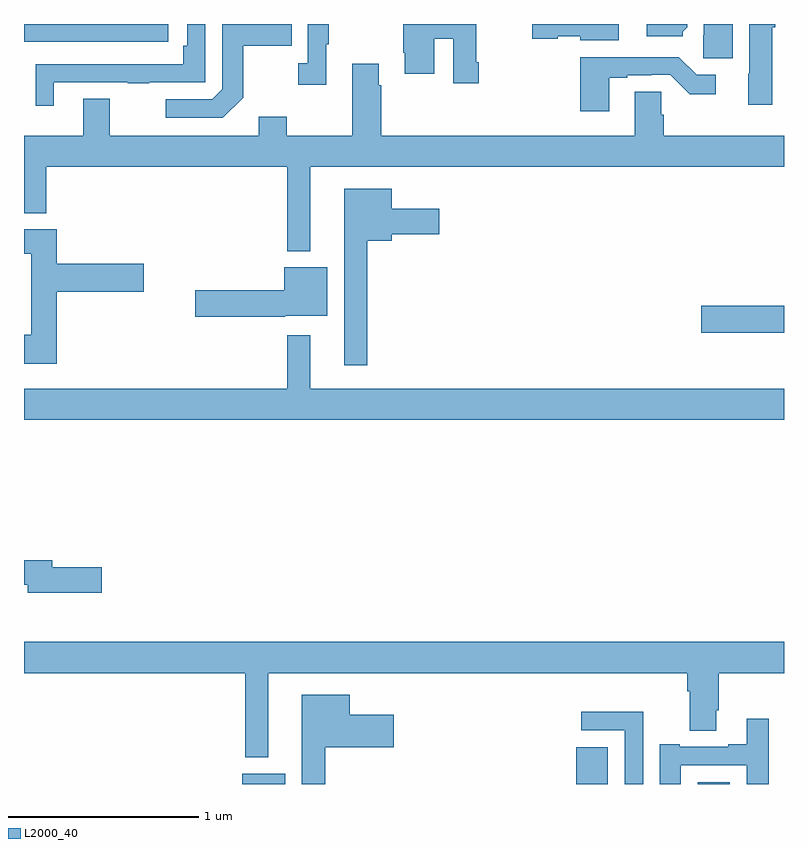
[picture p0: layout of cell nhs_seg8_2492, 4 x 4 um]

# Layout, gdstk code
import gdstk
lib = gdstk.Library(unit=1e-6, precision=1e-09)
def R(c, l, rs):  # rectangles x0, y0, x1, y1
    for r in rs: c.add(gdstk.rectangle(r[:2], r[2:], *l))
def P(c, l, *ps):  # polygons
    for p in ps: c.add(gdstk.Polygon(p, *l))
L2000_40 = (2000, 40)

nhs_seg8_2492 = lib.new_cell('nhs_seg8_2492')
R(nhs_seg8_2492, L2000_40, [(268.148,1131.9,268.375,1131.955), (269.906,1131.9,270.073,1132.093), (270.545,1131.9,270.715,1131.91), (270.564,1134.274,271,1134.416), (267,1135.806,267.76,1135.9)])
P(nhs_seg8_2492, L2000_40, [(270.468,1135.86),(270.49,1135.882),(270.49,1135.9),(270.278,1135.9),(270.278,1135.835),(270.468,1135.835)],
  [(268.591,1135.793),(268.603,1135.793),(268.603,1135.9),(268.494,1135.9),(268.494,1135.694),(268.443,1135.694),(268.443,1135.581),(268.591,1135.581)],
  [(270.937,1135.884),(270.955,1135.884),(270.955,1135.9),(270.818,1135.9),(270.818,1135.638),(270.812,1135.638),(270.812,1135.476),(270.937,1135.476)],
  [(268.153,1135.513),(268.153,1135.786),(268.409,1135.786),(268.409,1135.9),(268.044,1135.9),(268.044,1135.557),(267.99,1135.503),(267.747,1135.503),(267.747,1135.407),(268.047,1135.407)],
  [(269.393,1135.699),(269.38,1135.699),(269.38,1135.9),(268.996,1135.9),(268.996,1135.75),(269.003,1135.75),(269.003,1135.638),(269.158,1135.638),(269.158,1135.823),(269.258,1135.823),(269.258,1135.587),(269.393,1135.587)],
  [(270.73,1135.9),(270.578,1135.9),(270.578,1135.842),(270.574,1135.842),(270.574,1135.719),(270.73,1135.719)],
  [(270.13,1135.9),(269.676,1135.9),(269.676,1135.823),(269.808,1135.823),(269.808,1135.835),(269.928,1135.835),(269.928,1135.814),(270.13,1135.814)],
  [(267.157,1135.593),(267.547,1135.593),(267.547,1135.588),(267.659,1135.588),(267.659,1135.593),(267.954,1135.593),(267.954,1135.9),(267.858,1135.9),(267.858,1135.786),(267.838,1135.786),(267.838,1135.689),(267.163,1135.689),(267.163,1135.688),(267.061,1135.688),(267.061,1135.47),(267.157,1135.47)],
  [(270.079,1135.617),(270.175,1135.617),(270.175,1135.629),(270.302,1135.629),(270.302,1135.632),(270.402,1135.632),(270.505,1135.53),(270.64,1135.53),(270.64,1135.632),(270.54,1135.632),(270.446,1135.726),(269.927,1135.726),(269.927,1135.44),(270.079,1135.44)],
  [(268.507,1135.148),(271,1135.148),(271,1135.312),(270.368,1135.312),(270.368,1135.422),(270.354,1135.422),(270.354,1135.544),(270.215,1135.544),(270.215,1135.312),(268.88,1135.312),(268.88,1135.577),(268.867,1135.577),(268.867,1135.69),(268.727,1135.69),(268.727,1135.312),(268.383,1135.312),(268.383,1135.411),(268.235,1135.411),(268.235,1135.312),(267.451,1135.312),(267.451,1135.507),(267.311,1135.507),(267.311,1135.312),(267,1135.312),(267,1134.905),(267.116,1134.905),(267.116,1135.148),(268.386,1135.148),(268.386,1134.704),(268.507,1134.704)],
  [(268.807,1134.758),(268.936,1134.758),(268.936,1134.794),(269.185,1134.794),(269.185,1134.928),(268.936,1134.928),(268.936,1135.033),(268.685,1135.033),(268.685,1134.105),(268.807,1134.105)],
  [(267.173,1134.491),(267.631,1134.491),(267.631,1134.638),(267.173,1134.638),(267.173,1134.82),(267,1134.82),(267,1134.692),(267.038,1134.692),(267.038,1134.265),(267,1134.265),(267,1134.113),(267.173,1134.113)],
  [(268.374,1134.365),(268.597,1134.365),(268.597,1134.619),(268.37,1134.619),(268.37,1134.5),(267.9,1134.5),(267.9,1134.358),(268.374,1134.358)],
  [(271,1133.98),(268.507,1133.98),(268.507,1134.262),(268.386,1134.262),(268.386,1133.98),(267,1133.98),(267,1133.816),(271,1133.816)],
  [(267.409,1133.042),(267.148,1133.042),(267.148,1133.078),(267,1133.078),(267,1132.95),(267.02,1132.95),(267.02,1132.907),(267.409,1132.907)],
  [(268.285,1132.484),(270.491,1132.484),(270.491,1132.388),(270.503,1132.388),(270.503,1132.18),(270.643,1132.18),(270.643,1132.288),(270.656,1132.288),(270.656,1132.484),(271,1132.484),(271,1132.648),(267,1132.648),(267,1132.484),(268.164,1132.484),(268.164,1132.04),(268.285,1132.04)],
  [(268.585,1132.094),(268.945,1132.094),(268.945,1132.264),(268.714,1132.264),(268.714,1132.369),(268.463,1132.369),(268.463,1131.9),(268.585,1131.9)],
  [(270.258,1132.28),(269.934,1132.28),(269.934,1132.182),(270.162,1132.182),(270.162,1131.9),(270.258,1131.9)],
  [(270.457,1131.999),(270.804,1131.999),(270.804,1131.9),(270.92,1131.9),(270.92,1132.243),(270.803,1132.243),(270.803,1132.108),(270.707,1132.108),(270.707,1132.095),(270.451,1132.095),(270.451,1132.108),(270.347,1132.108),(270.347,1131.9),(270.457,1131.9)])

lib.write_gds('nhs_seg8_2492.gds')
